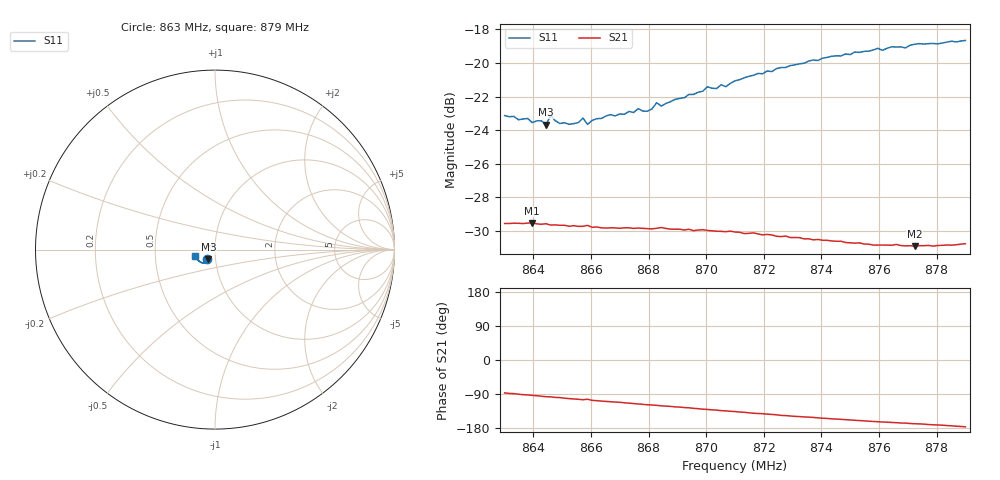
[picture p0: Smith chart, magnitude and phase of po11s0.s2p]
# HZ S RI R 50
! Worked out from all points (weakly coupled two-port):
!   101 points, 863 MHz to 879 MHz, reference 50 ohm
!   highest |S21| = -29.52 dB at 863.96 MHz (marker M1); lowest = -30.9 dB at 877.24 MHz (marker M2)
!   lowest |S11| = -23.7 dB at 864.44 MHz (marker M3), VSWR 1.14, Z = 46.2 - j5 ohm
!   |S11| at or under -10 dB: start of sweep to end of sweep
!   S12 and S22 are empty: the file has one direction only
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8.63e8  -0.0432 -0.0547  0.00191 -0.0332  0 0  0 0
8.638e8  -0.0404 -0.0551  -0.00126 -0.0334  0 0  0 0
8.6396e8  -0.0388 -0.054  -0.002 -0.0334  0 0  0 0
8.6428e8  -0.0371 -0.0562  -0.00325 -0.033  0 0  0 0
8.6444e8  -0.0372 -0.054  -0.00403 -0.033  0 0  0 0
8.646e8  -0.0403 -0.057  -0.00412 -0.0327  0 0  0 0
8.6492e8  -0.0359 -0.0555  -0.0053 -0.0325  0 0  0 0
8.6524e8  -0.0353 -0.0554  -0.00671 -0.032  0 0  0 0
8.6572e8  -0.0352 -0.0588  -0.00835 -0.0316  0 0  0 0
8.6588e8  -0.0338 -0.0563  -0.00767 -0.032  0 0  0 0
8.6668e8  -0.0345 -0.0611  -0.0111 -0.0303  0 0  0 0
8.6764e8  -0.0351 -0.0642  -0.0141 -0.029  0 0  0 0
8.6796e8  -0.0339 -0.0634  -0.0152 -0.0283  0 0  0 0
8.6828e8  -0.0362 -0.067  -0.0159 -0.028  0 0  0 0
8.6844e8  -0.0355 -0.0654  -0.0166 -0.0278  0 0  0 0
8.7004e8  -0.0429 -0.0733  -0.0206 -0.0242  0 0  0 0
8.7068e8  -0.044 -0.0727  -0.022 -0.0226  0 0  0 0
8.71e8  -0.0479 -0.0745  -0.0226 -0.0218  0 0  0 0
8.7372e8  -0.0686 -0.0756  -0.0262 -0.0142  0 0  0 0
8.7644e8  -0.0933 -0.0614  -0.0277 -0.00752  0 0  0 0
8.7724e8  -0.0991 -0.0558  -0.0279 -0.00584  0 0  0 0
8.79e8  -0.1103 -0.0382  -0.0289 -0.00187  0 0  0 0
